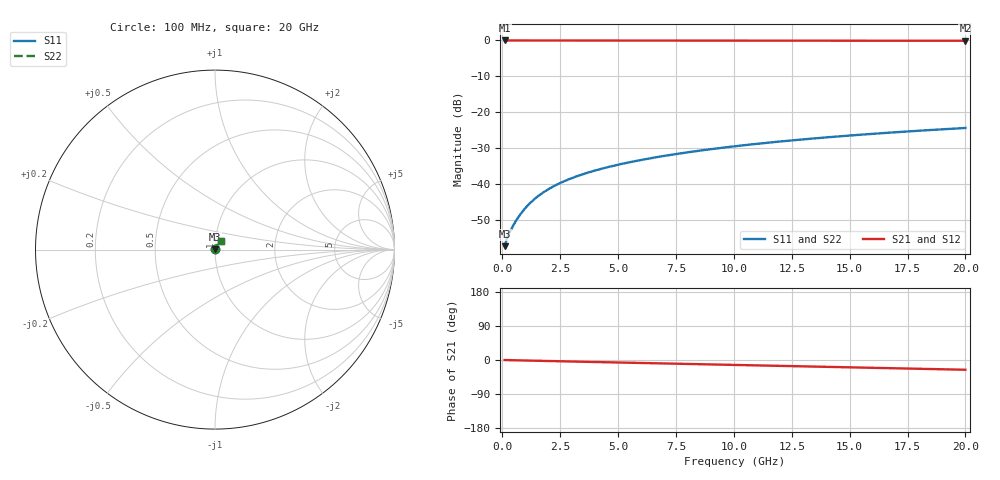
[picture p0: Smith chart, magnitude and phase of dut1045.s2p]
! Touchstone file exported from HFSS 2026.1.0
!  File:  C:/ffzhzh/LocalFiles/Ansys_Project_Files/temp_train_TMRDL_1045_1783160282_51560.aedt
!  Generated:  06:19:09 PM Jul  4, 2026
!  Design:  TMRDL
!  Project:  temp_train_TMRDL_1045_1783160282_51560
! Variables:
!  h_bsmrdl = 2um
!  h_ox = 20um
!  h_rdl = 5um
!  h_sub = 80um
!  h_tmrdl = 5.86um
!  h_tsv = 80um
!  h_via = 3um
!  l_bsmrdl = 300um
!  l_sub = 844.65um
!  l_tmrdl = 444.65um
!  m_sub = 200um
!  pitch = 36.6um
!  r_tsv = 6um
!  s_tmrdl = 10um
!  w_bsmrdl = 18um
!  w_sub = 500um
!  w_tmrdl = 27.94um
!  x_tsv_center1 = 458.62um
!  x_tsv_center2 = 776.62um
!  x_tsv_center3 = 1249.21um
!  x_tsv_center4 = 1567.21um
!  x_tsv_center5 = 2039.8um
!  x_tsv_center6 = 2357.8um
# GHz S MA R 50.000000
! Terminal data exported
! Port[1] = TM_RDL1_1_T1
! Port[2] = TM_RDL1_1_T2
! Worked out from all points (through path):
!   200 points, 100 MHz to 20 GHz, reference 50 ohm
!   highest |S21| = -0.01 dB at 100 MHz (marker M1); lowest = -0.1 dB at 20 GHz (marker M2)
!   group delay of S21, straight-line fit = 3.56 ps
!   lowest |S11| = -57.2 dB at 100 MHz (marker M3), VSWR 1.00, Z = 50.1 + j0.0673 ohm
!   |S11| at or under -10 dB: start of sweep to end of sweep
!   |S22| runs from -57.2 to -24.3 dB; largest |S21 - S12| = 3.1e-15
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0.1  0.001387 28.9  0.9988 -0.1  0.9988 -0.1  0.001387 28.9
! Gamma 0 0 0 0
! Port Impedance 50 0 50 0
0.2  0.001774 38.2  0.9986 -0.3  0.9986 -0.3  0.00177 38.2
0.3  0.002101 44.9  0.9984 -0.4  0.9984 -0.4  0.002095 44.9
0.4  0.002433 50.4  0.9983 -0.6  0.9983 -0.6  0.002427 50.5
0.6  0.003151 58.3  0.9982 -0.8  0.9982 -0.8  0.003148 58.4
0.7  0.003531 61.0  0.9982 -1.0  0.9982 -1.0  0.003528 61.1
0.9  0.004312 64.7  0.9981 -1.2  0.9981 -1.2  0.004312 64.8
1.1  0.005106 67.1  0.998 -1.5  0.998 -1.5  0.005107 67.1
1.3  0.005901 68.5  0.9978 -1.8  0.9978 -1.8  0.005903 68.6
1.7  0.007468 70.1  0.9976 -2.3  0.9976 -2.3  0.007471 70.1
2.2  0.00936 70.7  0.9973 -2.9  0.9973 -2.9  0.009363 70.7
2.8  0.01152 70.7  0.9968 -3.7  0.9968 -3.7  0.01153 70.7
3.5  0.01393 70.4  0.9963 -4.6  0.9963 -4.6  0.01392 70.4
4.2  0.01623 70.0  0.9958 -5.6  0.9958 -5.6  0.01622 70.1
5  0.01877 69.5  0.9953 -6.6  0.9953 -6.6  0.01877 69.6
5.9  0.02157 68.9  0.9948 -7.7  0.9948 -7.7  0.02156 69.0
6.8  0.02431 68.3  0.9943 -8.9  0.9943 -8.9  0.0243 68.4
8.3  0.02878 67.1  0.9936 -10.8  0.9936 -10.8  0.02877 67.2
10.1  0.03404 65.6  0.9928 -13.1  0.9928 -13.1  0.03402 65.7
13.4  0.04336 62.4  0.9913 -17.3  0.9913 -17.3  0.04333 62.6
16.7  0.0523 59.0  0.99 -21.5  0.99 -21.5  0.05225 59.2
20  0.06082 55.4  0.9887 -25.7  0.9887 -25.7  0.06076 55.6
